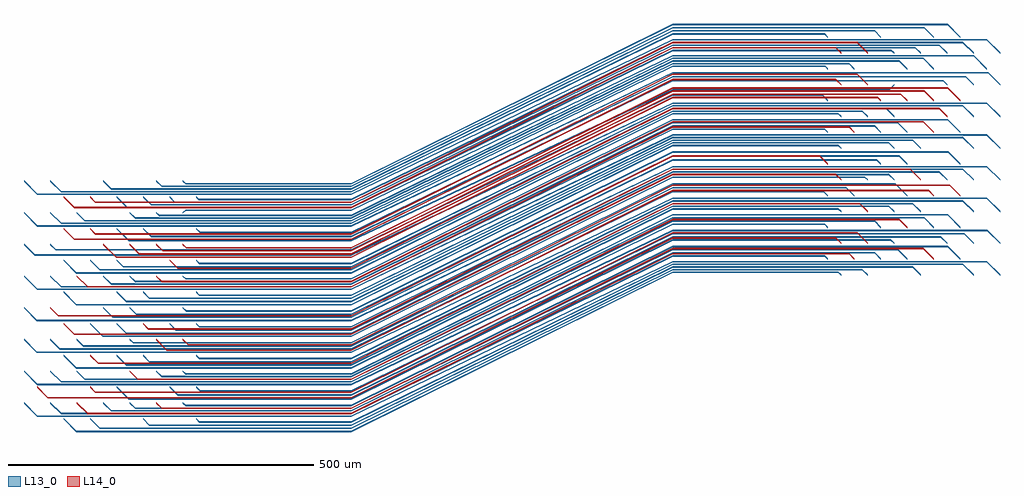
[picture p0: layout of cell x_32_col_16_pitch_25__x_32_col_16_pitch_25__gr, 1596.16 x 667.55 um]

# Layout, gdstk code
import gdstk
lib = gdstk.Library(unit=1e-6, precision=1e-09)
def R(c, l, rs):  # rectangles x0, y0, x1, y1
    for r in rs: c.add(gdstk.rectangle(r[:2], r[2:], *l))
def A(c, l, x, y, w, h, nx, ny, dx, dy):  # array of equal rectangles
    R(c, l, [(x+i*dx, y+j*dy, x+i*dx+w, y+j*dy+h) for i in range(nx) for j in range(ny)])
def P(c, l, *ps):  # polygons
    for p in ps: c.add(gdstk.Polygon(p, *l))
L13_0 = (13, 0)
L14_0 = (14, 0)

x_32_col_16_pitch_25__x_ = lib.new_cell('x_32_col_16_pitch_25__x_32_col_16_pitch_25__gr')
A(x_32_col_16_pitch_25__x_, L13_0, 1425.106, 1466.224, 449.894, 2, 1, 3, 0, 103.68)
A(x_32_col_16_pitch_25__x_, L13_0, 1544.638, 1476.592, 330.362, 2, 1, 3, 0, 103.68)
A(x_32_col_16_pitch_25__x_, L13_0, 1506.522, 1575.088, 368.478, 2, 1, 3, 0, 51.84)
A(x_32_col_16_pitch_25__x_, L13_0, 1626.054, 1585.456, 248.946, 2, 1, 4, 0, 51.84)
A(x_32_col_16_pitch_25__x_, L13_0, 2400, 1726.56, 271.46, 2, 1, 3, 0, 103.68)
A(x_32_col_16_pitch_25__x_, L13_0, 2400, 1735.2, 392.72, 2, 1, 3, 0, 103.68)
A(x_32_col_16_pitch_25__x_, L13_0, 2400, 1805.184, 248.946, 2, 1, 3, 0, 155.52)
A(x_32_col_16_pitch_25__x_, L13_0, 2400, 1810.368, 330.362, 2, 1, 3, 0, 155.52)
A(x_32_col_16_pitch_25__x_, L13_0, 2400, 1820.736, 449.894, 2, 1, 3, 0, 155.52)
A(x_32_col_16_pitch_25__x_, L13_0, 2400, 1834.56, 353.74, 2, 1, 3, 0, 51.84)
A(x_32_col_16_pitch_25__x_, L13_0, 2400, 1843.2, 475, 2, 1, 4, 0, 51.84)
A(x_32_col_16_pitch_25__x_, L13_0, 2400, 1847.52, 513.982, 2, 1, 4, 0, 51.84)
R(x_32_col_16_pitch_25__x_, L13_0, [(1463.222,1471.408,1875,1473.408), (1626.054,1481.776,1875,1483.776), (1361.017,1491.28,1875,1493.28), (1400,1495.6,1875,1497.6), (1482.28,1499.92,1875,1501.92), (1521.26,1504.24,1875,1506.24), (1603.54,1508.56,1875,1510.56), (1510.41,1519.36,1875,1521.36), (1590.53,1525.84,1875,1527.84), (1627.35,1532.32,1875,1534.32), (1361.017,1543.12,1875,1545.12), (1400,1547.44,1875,1549.44), (1438.98,1551.76,1875,1553.76), (1564.56,1556.08,1875,1558.08), (1603.54,1560.4,1875,1562.4), (1360.153,1595.824,1875,1597.824), (1398.272,1601.008,1875,1603.008), (1436.388,1606.192,1875,1608.192), (1517.804,1611.376,1875,1613.376), (1468.406,1621.744,1875,1623.744), (1587.938,1632.112,1875,1634.112), (1360.153,1647.664,1875,1649.664), (1484.872,1652.848,1875,1654.848), (1522.988,1658.032,1875,1660.032), (1604.404,1663.216,1875,1665.216), (1361.017,1698.64,1875,1700.64), (1400,1702.96,1875,1704.96), (1482.28,1707.28,1875,1709.28), (1521.26,1711.6,1875,1713.6), (1603.54,1715.92,1875,1717.92), (1425.106,1725.424,1875,1727.424), (1463.222,1730.608,1875,1732.608), (2400,1730.88,2710.44,1732.88), (1501.338,1735.792,1875,1737.792), (2400,1739.52,2875,1741.52), (2400,1743.84,2913.982,1745.84), (2400,1753.344,2648.946,1755.344), (1356.697,1754.8,1875,1756.8), (2400,1758.528,2730.362,1760.528), (1391.36,1763.44,1875,1765.44), (2400,1763.712,2768.478,1765.712), (2400,1768.896,2849.894,1770.896), (1510.41,1778.56,1875,1780.56), (2400,1779.264,2757.196,1781.264), (2400,1784.448,2838.612,1786.448), (1547.23,1785.04,1875,1787.04), (2400,1789.632,2876.728,1791.632), (1627.35,1791.52,1875,1793.52), (2400,1794.816,2914.846,1796.816), (1361.017,1802.32,1875,1804.32), (1400,1806.64,1875,1808.64), (1438.98,1810.96,1875,1812.96), (1521.26,1815.28,1875,1817.28), (2400,1815.552,2811.778,1817.552), (1560.24,1819.6,1875,1821.6), (1603.54,1828.24,1875,1830.24), (1508.25,1832.56,1875,1834.56), (1547.23,1836.88,1875,1838.88), (1586.21,1841.2,1875,1843.2), (1625.19,1845.52,1875,1847.52), (1361.017,1854.16,1875,1856.16), (2400,1858.32,2647.65,1860.32), (1400,1858.48,1875,1860.48), (1482.28,1862.8,1875,1864.8), (2400,1864.8,2684.47,1866.8), (1564.56,1867.12,1875,1869.12), (2400,1871.28,2764.59,1873.28), (1603.54,1871.44,1875,1873.44), (2400,1882.08,2714.76,1884.08), (2400,1890.72,2836.02,1892.72), (2400,1910.16,2734.25,1912.16), (2400,1916.64,2771.07,1918.64), (2400,1923.12,2851.19,1925.12), (2400,1971.072,2768.478,1973.072), (2400,1985.76,2671.46,1987.76), (2400,1990.08,2710.44,1992.08), (2400,1994.4,2749.42,1996.4), (2400,2016,2645.49,2018), (2400,2024.64,2753.74,2026.64), (2400,2039.76,2842.5,2041.76), (2400,2046.24,2879.32,2048.24), (2400,2052.72,2916.142,2054.72), (2400,2063.52,2649.81,2065.52), (2400,2067.84,2688.79,2069.84), (2400,2072.16,2771.07,2074.16), (2400,2076.48,2810.05,2078.48), (2400,2080.8,2892.332,2082.8), (2400,2089.44,2758.06,2091.44), (2400,2093.76,2797.04,2095.76), (2400,2098.08,2836.02,2100.08), (2400,2102.4,2875,2104.4), (2400,2106.72,2913.982,2108.72), (2400,2126.592,2811.778,2128.592)])
P(x_32_col_16_pitch_25__x_, L13_0, [(2654.13,2111.04),(2654.13,2113.04),(2648.946,2118.224),(2648.946,2116.224)],
  [(2400,2116.224),(2400,2118.224),(1875,1860.48),(1875,1858.48)],
  [(1400,1858.48),(1400,1860.48),(1382.72,1877.76),(1382.72,1875.76)],
  [(2740.73,2111.04),(2740.73,2113.04),(2730.362,2123.408),(2730.362,2121.408)],
  [(2400,2121.408),(2400,2123.408),(1875,1864.8),(1875,1862.8)],
  [(1482.28,1862.8),(1482.28,1864.8),(1469.32,1877.76),(1469.32,1875.76)],
  [(2827.33,2111.04),(2827.33,2113.04),(2811.778,2128.592),(2811.778,2126.592)],
  [(2400,2126.592),(2400,2128.592),(1875,1869.12),(1875,1867.12)],
  [(1564.56,1867.12),(1564.56,1869.12),(1555.92,1877.76),(1555.92,1875.76)],
  [(2870.63,2111.04),(2870.63,2113.04),(2849.894,2133.776),(2849.894,2131.776)],
  [(2400,2131.776),(2400,2133.776),(1875,1873.44),(1875,1871.44)],
  [(1603.54,1871.44),(1603.54,1873.44),(1599.22,1877.76),(1599.22,1875.76)],
  [(2762.38,2085.12),(2762.38,2087.12),(2758.06,2091.44),(2758.06,2089.44)],
  [(2400,2089.44),(2400,2091.44),(1875,1834.56),(1875,1832.56)],
  [(1508.25,1832.56),(1508.25,1834.56),(1490.97,1851.84),(1490.97,1849.84)],
  [(2805.68,2085.12),(2805.68,2087.12),(2797.04,2095.76),(2797.04,2093.76)],
  [(2400,2093.76),(2400,2095.76),(1875,1838.88),(1875,1836.88)],
  [(1547.23,1836.88),(1547.23,1838.88),(1534.27,1851.84),(1534.27,1849.84)],
  [(2848.98,2085.12),(2848.98,2087.12),(2836.02,2100.08),(2836.02,2098.08)],
  [(2400,2098.08),(2400,2100.08),(1875,1843.2),(1875,1841.2)],
  [(1586.21,1841.2),(1586.21,1843.2),(1577.57,1851.84),(1577.57,1849.84)],
  [(2892.28,2085.12),(2892.28,2087.12),(2875,2104.4),(2875,2102.4)],
  [(2400,2102.4),(2400,2104.4),(1875,1847.52),(1875,1845.52)],
  [(1625.19,1845.52),(1625.19,1847.52),(1620.87,1851.84),(1620.87,1849.84)],
  [(2935.582,2085.12),(2935.582,2087.12),(2913.982,2108.72),(2913.982,2106.72)],
  [(2400,2106.72),(2400,2108.72),(1875,1856.16),(1875,1854.16)],
  [(1361.017,1854.16),(1361.017,1856.16),(1339.417,1877.76),(1339.417,1875.76)],
  [(2654.13,2059.2),(2654.13,2061.2),(2649.81,2065.52),(2649.81,2063.52)],
  [(2400,2063.52),(2400,2065.52),(1875,1808.64),(1875,1806.64)],
  [(1400,1806.64),(1400,1808.64),(1382.72,1825.92),(1382.72,1823.92)],
  [(2697.43,2059.2),(2697.43,2061.2),(2688.79,2069.84),(2688.79,2067.84)],
  [(2400,2067.84),(2400,2069.84),(1875,1812.96),(1875,1810.96)],
  [(1438.98,1810.96),(1438.98,1812.96),(1426.02,1825.92),(1426.02,1823.92)],
  [(2784.03,2059.2),(2784.03,2061.2),(2771.07,2074.16),(2771.07,2072.16)],
  [(2400,2072.16),(2400,2074.16),(1875,1817.28),(1875,1815.28)],
  [(1521.26,1815.28),(1521.26,1817.28),(1512.62,1825.92),(1512.62,1823.92)],
  [(2827.33,2059.2),(2827.33,2061.2),(2810.05,2078.48),(2810.05,2076.48)],
  [(2400,2076.48),(2400,2078.48),(1875,1821.6),(1875,1819.6)],
  [(1560.24,1819.6),(1560.24,1821.6),(1555.92,1825.92),(1555.92,1823.92)],
  [(2913.932,2059.2),(2913.932,2061.2),(2892.332,2082.8),(2892.332,2080.8)],
  [(2400,2080.8),(2400,2082.8),(1875,1830.24),(1875,1828.24)],
  [(1603.54,1828.24),(1603.54,1830.24),(1599.22,1825.92),(1599.22,1823.92)],
  [(2762.38,2033.28),(2762.38,2035.28),(2753.74,2026.64),(2753.74,2024.64)],
  [(2400,2024.64),(2400,2026.64),(1875,1780.56),(1875,1778.56)],
  [(1510.41,1778.56),(1510.41,1780.56),(1490.97,1800),(1490.97,1798)],
  [(2848.98,2033.28),(2848.98,2035.28),(2842.5,2041.76),(2842.5,2039.76)],
  [(2400,2039.76),(2400,2041.76),(1875,1787.04),(1875,1785.04)],
  [(1547.23,1785.04),(1547.23,1787.04),(1534.27,1800),(1534.27,1798)],
  [(2892.28,2033.28),(2892.28,2035.28),(2879.32,2048.24),(2879.32,2046.24)],
  [(2400,2046.24),(2400,2048.24),(1875,1793.52),(1875,1791.52)],
  [(1627.35,1791.52),(1627.35,1793.52),(1620.87,1800),(1620.87,1798)],
  [(2935.582,2033.28),(2935.582,2035.28),(2916.142,2054.72),(2916.142,2052.72)],
  [(2400,2052.72),(2400,2054.72),(1875,1804.32),(1875,1802.32)],
  [(1361.017,1802.32),(1361.017,1804.32),(1339.417,1825.92),(1339.417,1823.92)],
  [(2654.13,2007.36),(2654.13,2009.36),(2645.49,2018),(2645.49,2016)],
  [(2400,2016),(2400,2018),(1875,1765.44),(1875,1763.44)],
  [(1391.36,1763.44),(1391.36,1765.44),(1382.72,1774.08),(1382.72,1772.08)],
  [(2675.78,1981.44),(2675.78,1983.44),(2671.46,1987.76),(2671.46,1985.76)],
  [(2400,1985.76),(2400,1987.76),(1875,1727.424),(1875,1725.424)],
  [(1425.106,1725.424),(1425.106,1727.424),(1404.37,1748.16),(1404.37,1746.16)],
  [(2719.08,1981.44),(2719.08,1983.44),(2710.44,1992.08),(2710.44,1990.08)],
  [(2400,1990.08),(2400,1992.08),(1875,1732.608),(1875,1730.608)],
  [(1463.222,1730.608),(1463.222,1732.608),(1447.67,1748.16),(1447.67,1746.16)],
  [(2762.38,1981.44),(2762.38,1983.44),(2749.42,1996.4),(2749.42,1994.4)],
  [(2400,1994.4),(2400,1996.4),(1875,1737.792),(1875,1735.792)],
  [(1501.338,1735.792),(1501.338,1737.792),(1490.97,1748.16),(1490.97,1746.16)],
  [(2892.28,1981.44),(2892.28,1983.44),(2875,2000.72),(2875,1998.72)],
  [(2400,1998.72),(2400,2000.72),(1875,1742.976),(1875,1740.976)],
  [(1626.054,1740.976),(1626.054,1742.976),(1620.87,1748.16),(1620.87,1746.16)],
  [(2935.582,1981.44),(2935.582,1983.44),(2913.982,2005.04),(2913.982,2003.04)],
  [(2400,2003.04),(2400,2005.04),(1875,1756.8),(1875,1754.8)],
  [(1356.697,1754.8),(1356.697,1756.8),(1339.417,1774.08),(1339.417,1772.08)],
  [(2654.13,1955.52),(2654.13,1957.52),(2648.946,1962.704),(2648.946,1960.704)],
  [(2400,1960.704),(2400,1962.704),(1875,1704.96),(1875,1702.96)],
  [(1400,1702.96),(1400,1704.96),(1382.72,1722.24),(1382.72,1720.24)],
  [(2740.73,1955.52),(2740.73,1957.52),(2730.362,1967.888),(2730.362,1965.888)],
  [(2400,1965.888),(2400,1967.888),(1875,1709.28),(1875,1707.28)],
  [(1482.28,1707.28),(1482.28,1709.28),(1469.32,1722.24),(1469.32,1720.24)],
  [(2784.03,1955.52),(2784.03,1957.52),(2768.478,1973.072),(2768.478,1971.072)],
  [(2400,1971.072),(2400,1973.072),(1875,1713.6),(1875,1711.6)],
  [(1521.26,1711.6),(1521.26,1713.6),(1512.62,1722.24),(1512.62,1720.24)],
  [(2870.63,1955.52),(2870.63,1957.52),(2849.894,1978.256),(2849.894,1976.256)],
  [(2400,1976.256),(2400,1978.256),(1875,1717.92),(1875,1715.92)],
  [(1603.54,1715.92),(1603.54,1717.92),(1599.22,1722.24),(1599.22,1720.24)],
  [(2675.78,1929.6),(2675.78,1931.6),(2671.46,1935.92),(2671.46,1933.92)],
  [(2400,1933.92),(2400,1935.92),(1875,1675.584),(1875,1673.584)],
  [(1425.106,1673.584),(1425.106,1675.584),(1404.37,1696.32),(1404.37,1694.32)],
  [(2762.38,1929.6),(2762.38,1931.6),(2753.74,1940.24),(2753.74,1938.24)],
  [(2400,1938.24),(2400,1940.24),(1875,1680.768),(1875,1678.768)],
  [(1506.522,1678.768),(1506.522,1680.768),(1490.97,1696.32),(1490.97,1694.32)],
  [(2805.68,1929.6),(2805.68,1931.6),(2792.72,1944.56),(2792.72,1942.56)],
  [(2400,1942.56),(2400,1944.56),(1875,1685.952),(1875,1683.952)],
  [(1544.638,1683.952),(1544.638,1685.952),(1534.27,1696.32),(1534.27,1694.32)],
  [(2892.28,1929.6),(2892.28,1931.6),(2875,1948.88),(2875,1946.88)],
  [(2400,1946.88),(2400,1948.88),(1875,1691.136),(1875,1689.136)],
  [(1626.054,1689.136),(1626.054,1691.136),(1620.87,1696.32),(1620.87,1694.32)],
  [(2935.582,1929.6),(2935.582,1931.6),(2913.982,1953.2),(2913.982,1951.2)],
  [(2400,1951.2),(2400,1953.2),(1875,1700.64),(1875,1698.64)],
  [(1361.017,1698.64),(1361.017,1700.64),(1339.417,1722.24),(1339.417,1720.24)],
  [(2740.73,1903.68),(2740.73,1905.68),(2734.25,1912.16),(2734.25,1910.16)],
  [(2400,1910.16),(2400,1912.16),(1875,1654.848),(1875,1652.848)],
  [(1484.872,1652.848),(1484.872,1654.848),(1469.32,1670.4),(1469.32,1668.4)],
  [(2784.03,1903.68),(2784.03,1905.68),(2771.07,1918.64),(2771.07,1916.64)],
  [(2400,1916.64),(2400,1918.64),(1875,1660.032),(1875,1658.032)],
  [(1522.988,1658.032),(1522.988,1660.032),(1512.62,1670.4),(1512.62,1668.4)],
  [(2870.63,1903.68),(2870.63,1905.68),(2851.19,1925.12),(2851.19,1923.12)],
  [(2400,1923.12),(2400,1925.12),(1875,1665.216),(1875,1663.216)],
  [(1604.404,1663.216),(1604.404,1665.216),(1599.22,1670.4),(1599.22,1668.4)],
  [(2719.08,1877.76),(2719.08,1879.76),(2714.76,1884.08),(2714.76,1882.08)],
  [(2400,1882.08),(2400,1884.08),(1875,1623.744),(1875,1621.744)],
  [(1468.406,1621.744),(1468.406,1623.744),(1447.67,1644.48),(1447.67,1642.48)],
  [(2762.38,1877.76),(2762.38,1879.76),(2753.74,1888.4),(2753.74,1886.4)],
  [(2400,1886.4),(2400,1888.4),(1875,1628.928),(1875,1626.928)],
  [(1506.522,1626.928),(1506.522,1628.928),(1490.97,1644.48),(1490.97,1642.48)],
  [(2848.98,1877.76),(2848.98,1879.76),(2836.02,1892.72),(2836.02,1890.72)],
  [(2400,1890.72),(2400,1892.72),(1875,1634.112),(1875,1632.112)],
  [(1587.938,1632.112),(1587.938,1634.112),(1577.57,1644.48),(1577.57,1642.48)],
  [(2892.28,1877.76),(2892.28,1879.76),(2875,1897.04),(2875,1895.04)],
  [(2400,1895.04),(2400,1897.04),(1875,1639.296),(1875,1637.296)],
  [(1626.054,1637.296),(1626.054,1639.296),(1620.87,1644.48),(1620.87,1642.48)],
  [(2935.582,1877.76),(2935.582,1879.76),(2913.982,1901.36),(2913.982,1899.36)],
  [(2400,1899.36),(2400,1901.36),(1875,1649.664),(1875,1647.664)],
  [(1360.153,1647.664),(1360.153,1649.664),(1339.417,1670.4),(1339.417,1668.4)],
  [(2654.13,1851.84),(2654.13,1853.84),(2647.65,1860.32),(2647.65,1858.32)],
  [(2400,1858.32),(2400,1860.32),(1875,1603.008),(1875,1601.008)],
  [(1398.272,1601.008),(1398.272,1603.008),(1382.72,1618.56),(1382.72,1616.56)],
  [(2697.43,1851.84),(2697.43,1853.84),(2684.47,1866.8),(2684.47,1864.8)],
  [(2400,1864.8),(2400,1866.8),(1875,1608.192),(1875,1606.192)],
  [(1436.388,1606.192),(1436.388,1608.192),(1426.02,1618.56),(1426.02,1616.56)],
  [(2784.03,1851.84),(2784.03,1853.84),(2764.59,1873.28),(2764.59,1871.28)],
  [(2400,1871.28),(2400,1873.28),(1875,1613.376),(1875,1611.376)],
  [(1517.804,1611.376),(1517.804,1613.376),(1512.62,1618.56),(1512.62,1616.56)],
  [(2675.78,1825.92),(2675.78,1827.92),(2671.46,1832.24),(2671.46,1830.24)],
  [(2400,1830.24),(2400,1832.24),(1875,1571.904),(1875,1569.904)],
  [(1425.106,1569.904),(1425.106,1571.904),(1404.37,1592.64),(1404.37,1590.64)],
  [(2762.38,1825.92),(2762.38,1827.92),(2753.74,1836.56),(2753.74,1834.56)],
  [(2400,1834.56),(2400,1836.56),(1875,1577.088),(1875,1575.088)],
  [(1506.522,1575.088),(1506.522,1577.088),(1490.97,1592.64),(1490.97,1590.64)],
  [(2805.68,1825.92),(2805.68,1827.92),(2792.72,1840.88),(2792.72,1838.88)],
  [(2400,1838.88),(2400,1840.88),(1875,1582.272),(1875,1580.272)],
  [(1544.638,1580.272),(1544.638,1582.272),(1534.27,1592.64),(1534.27,1590.64)],
  [(2892.28,1825.92),(2892.28,1827.92),(2875,1845.2),(2875,1843.2)],
  [(2400,1843.2),(2400,1845.2),(1875,1587.456),(1875,1585.456)],
  [(1626.054,1585.456),(1626.054,1587.456),(1620.87,1592.64),(1620.87,1590.64)],
  [(2935.582,1825.92),(2935.582,1827.92),(2913.982,1849.52),(2913.982,1847.52)],
  [(2400,1847.52),(2400,1849.52),(1875,1597.824),(1875,1595.824)],
  [(1360.153,1595.824),(1360.153,1597.824),(1339.417,1618.56),(1339.417,1616.56)],
  [(2654.13,1800),(2654.13,1802),(2648.946,1807.184),(2648.946,1805.184)],
  [(2400,1805.184),(2400,1807.184),(1875,1549.44),(1875,1547.44)],
  [(1400,1547.44),(1400,1549.44),(1382.72,1566.72),(1382.72,1564.72)],
  [(2740.73,1800),(2740.73,1802),(2730.362,1812.368),(2730.362,1810.368)],
  [(2400,1810.368),(2400,1812.368),(1875,1553.76),(1875,1551.76)],
  [(1438.98,1551.76),(1438.98,1553.76),(1426.02,1566.72),(1426.02,1564.72)],
  [(2827.33,1800),(2827.33,1802),(2811.778,1817.552),(2811.778,1815.552)],
  [(2400,1815.552),(2400,1817.552),(1875,1558.08),(1875,1556.08)],
  [(1564.56,1556.08),(1564.56,1558.08),(1555.92,1566.72),(1555.92,1564.72)],
  [(2870.63,1800),(2870.63,1802),(2849.894,1822.736),(2849.894,1820.736)],
  [(2400,1820.736),(2400,1822.736),(1875,1562.4),(1875,1560.4)],
  [(1603.54,1560.4),(1603.54,1562.4),(1599.22,1566.72),(1599.22,1564.72)],
  [(2762.38,1774.08),(2762.38,1776.08),(2757.196,1781.264),(2757.196,1779.264)],
  [(2400,1779.264),(2400,1781.264),(1875,1521.36),(1875,1519.36)],
  [(1510.41,1519.36),(1510.41,1521.36),(1490.97,1540.8),(1490.97,1538.8)],
  [(2848.98,1774.08),(2848.98,1776.08),(2838.612,1786.448),(2838.612,1784.448)],
  [(2400,1784.448),(2400,1786.448),(1875,1527.84),(1875,1525.84)],
  [(1590.53,1525.84),(1590.53,1527.84),(1577.57,1540.8),(1577.57,1538.8)],
  [(2892.28,1774.08),(2892.28,1776.08),(2876.728,1791.632),(2876.728,1789.632)],
  [(2400,1789.632),(2400,1791.632),(1875,1534.32),(1875,1532.32)],
  [(1627.35,1532.32),(1627.35,1534.32),(1620.87,1540.8),(1620.87,1538.8)],
  [(2935.582,1774.08),(2935.582,1776.08),(2914.846,1796.816),(2914.846,1794.816)],
  [(2400,1794.816),(2400,1796.816),(1875,1545.12),(1875,1543.12)],
  [(1361.017,1543.12),(1361.017,1545.12),(1339.417,1566.72),(1339.417,1564.72)],
  [(2654.13,1748.16),(2654.13,1750.16),(2648.946,1755.344),(2648.946,1753.344)],
  [(2400,1753.344),(2400,1755.344),(1875,1497.6),(1875,1495.6)],
  [(1400,1495.6),(1400,1497.6),(1382.72,1514.88),(1382.72,1512.88)],
  [(2740.73,1748.16),(2740.73,1750.16),(2730.362,1760.528),(2730.362,1758.528)],
  [(2400,1758.528),(2400,1760.528),(1875,1501.92),(1875,1499.92)],
  [(1482.28,1499.92),(1482.28,1501.92),(1469.32,1514.88),(1469.32,1512.88)],
  [(2784.03,1748.16),(2784.03,1750.16),(2768.478,1765.712),(2768.478,1763.712)],
  [(2400,1763.712),(2400,1765.712),(1875,1506.24),(1875,1504.24)],
  [(1521.26,1504.24),(1521.26,1506.24),(1512.62,1514.88),(1512.62,1512.88)],
  [(2870.63,1748.16),(2870.63,1750.16),(2849.894,1770.896),(2849.894,1768.896)],
  [(2400,1768.896),(2400,1770.896),(1875,1510.56),(1875,1508.56)],
  [(1603.54,1508.56),(1603.54,1510.56),(1599.22,1514.88),(1599.22,1512.88)],
  [(2675.78,1722.24),(2675.78,1724.24),(2671.46,1728.56),(2671.46,1726.56)],
  [(2400,1726.56),(2400,1728.56),(1875,1468.224),(1875,1466.224)],
  [(1425.106,1466.224),(1425.106,1468.224),(1404.37,1488.96),(1404.37,1486.96)],
  [(2719.08,1722.24),(2719.08,1724.24),(2710.44,1732.88),(2710.44,1730.88)],
  [(2400,1730.88),(2400,1732.88),(1875,1473.408),(1875,1471.408)],
  [(1463.222,1471.408),(1463.222,1473.408),(1447.67,1488.96),(1447.67,1486.96)],
  [(2805.68,1722.24),(2805.68,1724.24),(2792.72,1737.2),(2792.72,1735.2)],
  [(2400,1735.2),(2400,1737.2),(1875,1478.592),(1875,1476.592)],
  [(1544.638,1476.592),(1544.638,1478.592),(1534.27,1488.96),(1534.27,1486.96)],
  [(2892.28,1722.24),(2892.28,1724.24),(2875,1741.52),(2875,1739.52)],
  [(2400,1739.52),(2400,1741.52),(1875,1483.776),(1875,1481.776)],
  [(1626.054,1481.776),(1626.054,1483.776),(1620.87,1488.96),(1620.87,1486.96)],
  [(2935.582,1722.24),(2935.582,1724.24),(2913.982,1745.84),(2913.982,1743.84)],
  [(2400,1743.84),(2400,1745.84),(1875,1493.28),(1875,1491.28)],
  [(1361.017,1491.28),(1361.017,1493.28),(1339.417,1514.88),(1339.417,1512.88)])
R(x_32_col_16_pitch_25__x_, L14_0, [(1443.3,1495.6,1875,1497.6), (1564.56,1504.24,1875,1506.24), (1378.347,1521.52,1875,1523.52), (1456.31,1530.16,1875,1532.16), (1525.58,1551.76,1875,1553.76), (1460.63,1577.68,1875,1579.68), (1573.2,1599.28,1875,1601.28), (1607.86,1607.92,1875,1609.92), (1421.65,1625.2,1875,1627.2), (1542.91,1633.84,1875,1635.84), (1395.68,1655.44,1875,1657.44), (1443.3,1702.96,1875,1704.96), (1564.56,1711.6,1875,1713.6), (1590.53,1733.2,1875,1735.2), (1490.056,1751.344,1875,1753.344), (1528.172,1756.528,1875,1758.528), (2400,1756.8,2688.79,1758.8), (1566.288,1761.712,1875,1763.712), (2400,1765.44,2810.05,1767.44), (1604.404,1766.896,1875,1768.896), (1421.65,1780.72,1875,1782.72), (2400,1782.72,2667.14,1784.72), (1456.31,1789.36,1875,1791.36), (2400,1791.36,2701.8,1793.36), (2400,1812.96,2771.07,1814.96), (1421.65,1832.56,1875,1834.56), (2400,1838.88,2706.12,1840.88), (1456.31,1841.2,1875,1843.2), (2400,1860.48,2818.69,1862.48), (2400,1869.12,2853.35,1871.12), (2400,1886.4,2667.14,1888.4), (2400,1895.04,2788.4,1897.04), (2400,1916.64,2641.17,1918.64), (2400,1964.16,2688.79,1966.16), (2400,1972.8,2810.05,1974.8), (2400,1994.4,2836.02,1996.4), (2400,2012.544,2735.546,2014.544), (2400,2017.728,2773.662,2019.728), (2400,2022.912,2811.778,2024.912), (2400,2028.096,2849.894,2030.096), (2400,2041.92,2667.14,2043.92), (2400,2050.56,2701.8,2052.56), (2400,2093.76,2667.14,2095.76), (2400,2102.4,2701.8,2104.4)])
P(x_32_col_16_pitch_25__x_, L14_0, [(2675.78,2085.12),(2675.78,2087.12),(2667.14,2095.76),(2667.14,2093.76)],
  [(2400,2093.76),(2400,2095.76),(1875,1834.56),(1875,1832.56)],
  [(1421.65,1832.56),(1421.65,1834.56),(1404.37,1851.84),(1404.37,1849.84)],
  [(2719.08,2085.12),(2719.08,2087.12),(2701.8,2104.4),(2701.8,2102.4)],
  [(2400,2102.4),(2400,2104.4),(1875,1843.2),(1875,1841.2)],
  [(1456.31,1841.2),(1456.31,1843.2),(1447.67,1851.84),(1447.67,1849.84)],
  [(2675.78,2033.28),(2675.78,2035.28),(2667.14,2043.92),(2667.14,2041.92)],
  [(2400,2041.92),(2400,2043.92),(1875,1782.72),(1875,1780.72)],
  [(1421.65,1780.72),(1421.65,1782.72),(1404.37,1800),(1404.37,1798)],
  [(2719.08,2033.28),(2719.08,2035.28),(2701.8,2052.56),(2701.8,2050.56)],
  [(2400,2050.56),(2400,2052.56),(1875,1791.36),(1875,1789.36)],
  [(1456.31,1789.36),(1456.31,1791.36),(1447.67,1800),(1447.67,1798)],
  [(2740.73,2007.36),(2740.73,2009.36),(2735.546,2014.544),(2735.546,2012.544)],
  [(2400,2012.544),(2400,2014.544),(1875,1753.344),(1875,1751.344)],
  [(1490.056,1751.344),(1490.056,1753.344),(1469.32,1774.08),(1469.32,1772.08)],
  [(2784.03,2007.36),(2784.03,2009.36),(2773.662,2019.728),(2773.662,2017.728)],
  [(2400,2017.728),(2400,2019.728),(1875,1758.528),(1875,1756.528)],
  [(1528.172,1756.528),(1528.172,1758.528),(1512.62,1774.08),(1512.62,1772.08)],
  [(2827.33,2007.36),(2827.33,2009.36),(2811.778,2024.912),(2811.778,2022.912)],
  [(2400,2022.912),(2400,2024.912),(1875,1763.712),(1875,1761.712)],
  [(1566.288,1761.712),(1566.288,1763.712),(1555.92,1774.08),(1555.92,1772.08)],
  [(2870.63,2007.36),(2870.63,2009.36),(2849.894,2030.096),(2849.894,2028.096)],
  [(2400,2028.096),(2400,2030.096),(1875,1768.896),(1875,1766.896)],
  [(1604.404,1766.896),(1604.404,1768.896),(1599.22,1774.08),(1599.22,1772.08)],
  [(2848.98,1981.44),(2848.98,1983.44),(2836.02,1996.4),(2836.02,1994.4)],
  [(2400,1994.4),(2400,1996.4),(1875,1735.2),(1875,1733.2)],
  [(1590.53,1733.2),(1590.53,1735.2),(1577.57,1748.16),(1577.57,1746.16)],
  [(2697.43,1955.52),(2697.43,1957.52),(2688.79,1966.16),(2688.79,1964.16)],
  [(2400,1964.16),(2400,1966.16),(1875,1704.96),(1875,1702.96)],
  [(1443.3,1702.96),(1443.3,1704.96),(1426.02,1722.24),(1426.02,1720.24)],
  [(2827.33,1955.52),(2827.33,1957.52),(2810.05,1974.8),(2810.05,1972.8)],
  [(2400,1972.8),(2400,1974.8),(1875,1713.6),(1875,1711.6)],
  [(1564.56,1711.6),(1564.56,1713.6),(1555.92,1722.24),(1555.92,1720.24)],
  [(2654.13,1903.68),(2654.13,1905.68),(2641.17,1918.64),(2641.17,1916.64)],
  [(2400,1916.64),(2400,1918.64),(1875,1657.44),(1875,1655.44)],
  [(1395.68,1655.44),(1395.68,1657.44),(1382.72,1670.4),(1382.72,1668.4)],
  [(2675.78,1877.76),(2675.78,1879.76),(2667.14,1888.4),(2667.14,1886.4)],
  [(2400,1886.4),(2400,1888.4),(1875,1627.2),(1875,1625.2)],
  [(1421.65,1625.2),(1421.65,1627.2),(1404.37,1644.48),(1404.37,1642.48)],
  [(2805.68,1877.76),(2805.68,1879.76),(2788.4,1897.04),(2788.4,1895.04)],
  [(2400,1895.04),(2400,1897.04),(1875,1635.84),(1875,1633.84)],
  [(1542.91,1633.84),(1542.91,1635.84),(1534.27,1644.48),(1534.27,1642.48)],
  [(2827.33,1851.84),(2827.33,1853.84),(2818.69,1862.48),(2818.69,1860.48)],
  [(2400,1860.48),(2400,1862.48),(1875,1601.28),(1875,1599.28)],
  [(1573.2,1599.28),(1573.2,1601.28),(1555.92,1618.56),(1555.92,1616.56)],
  [(2870.63,1851.84),(2870.63,1853.84),(2853.35,1871.12),(2853.35,1869.12)],
  [(2400,1869.12),(2400,1871.12),(1875,1609.92),(1875,1607.92)],
  [(1607.86,1607.92),(1607.86,1609.92),(1599.22,1618.56),(1599.22,1616.56)],
  [(2719.08,1825.92),(2719.08,1827.92),(2706.12,1840.88),(2706.12,1838.88)],
  [(2400,1838.88),(2400,1840.88),(1875,1579.68),(1875,1577.68)],
  [(1460.63,1577.68),(1460.63,1579.68),(1447.67,1592.64),(1447.67,1590.64)],
  [(2784.03,1800),(2784.03,1802),(2771.07,1814.96),(2771.07,1812.96)],
  [(2400,1812.96),(2400,1814.96),(1875,1553.76),(1875,1551.76)],
  [(1525.58,1551.76),(1525.58,1553.76),(1512.62,1566.72),(1512.62,1564.72)],
  [(2675.78,1774.08),(2675.78,1776.08),(2667.14,1784.72),(2667.14,1782.72)],
  [(2400,1782.72),(2400,1784.72),(1875,1523.52),(1875,1521.52)],
  [(1378.347,1521.52),(1378.347,1523.52),(1361.067,1540.8),(1361.067,1538.8)],
  [(2719.08,1774.08),(2719.08,1776.08),(2701.8,1793.36),(2701.8,1791.36)],
  [(2400,1791.36),(2400,1793.36),(1875,1532.16),(1875,1530.16)],
  [(1456.31,1530.16),(1456.31,1532.16),(1447.67,1540.8),(1447.67,1538.8)],
  [(2697.43,1748.16),(2697.43,1750.16),(2688.79,1758.8),(2688.79,1756.8)],
  [(2400,1756.8),(2400,1758.8),(1875,1497.6),(1875,1495.6)],
  [(1443.3,1495.6),(1443.3,1497.6),(1426.02,1514.88),(1426.02,1512.88)],
  [(2827.33,1748.16),(2827.33,1750.16),(2810.05,1767.44),(2810.05,1765.44)],
  [(2400,1765.44),(2400,1767.44),(1875,1506.24),(1875,1504.24)],
  [(1564.56,1504.24),(1564.56,1506.24),(1555.92,1514.88),(1555.92,1512.88)])

lib.write_gds('x_32_col_16_pitch_25__x_32_col_16_pitch_25__gr.gds')
